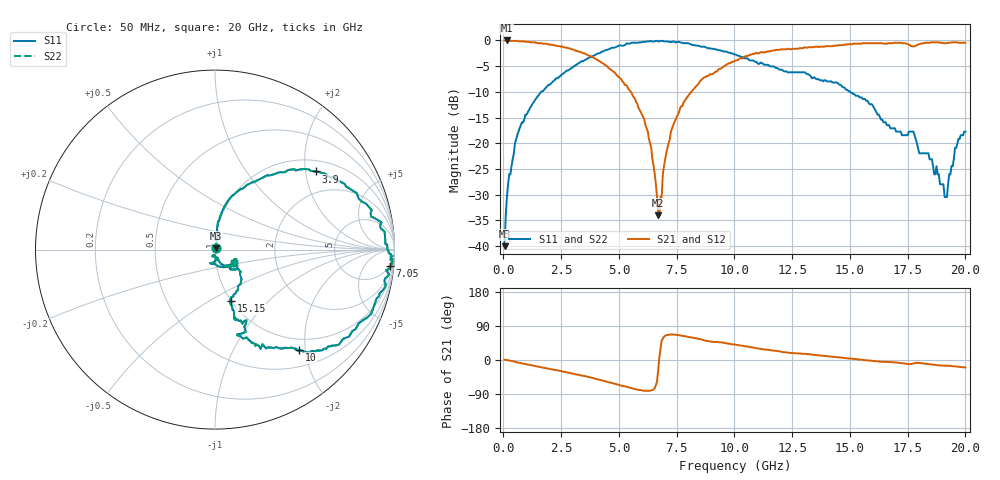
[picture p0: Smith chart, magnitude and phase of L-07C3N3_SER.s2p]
#	mhz	s	ma	r	50
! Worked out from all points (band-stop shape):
!   400 points, 50 MHz to 20 GHz, reference 50 ohm
!   highest |S21| = 0.00 dB at 150 MHz (marker M1); lowest = -34.0 dB at 6.7 GHz (marker M2)
!   |S21| within 3 dB of the highest: start of sweep to 3.76 GHz; 10.54 GHz to end of sweep
!   lowest |S11| = -40.0 dB at 50 MHz (marker M3), VSWR 1.02, Z = 50.6 + j0.827 ohm
!   |S11| at or under -10 dB: start of sweep to 1.631 GHz; 15.02 GHz to end of sweep
!   |S22| runs from -40.0 to -0.1 dB; largest |S21 - S12| = 0
!   S11 on the Smith chart (normalised r, x): 50 MHz: 1.01, +0.02; 3.9 GHz: 1.30, +2.28; 7.05 GHz: 5, -21; 10 GHz: 0.79, -1.88; 15.15 GHz: 1.00, -0.63; 20 GHz: 1.22, -0.19
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50  0.01 54.8  1 0.7  1 0.7  0.01 54.8
150  0.03 77.2  1 -0.2  1 -0.2  0.03 77.2
500  0.1 81.4  0.99 -4.8  0.99 -4.8  0.1 81.4
950  0.19 81.4  0.97 -10.7  0.97 -10.7  0.19 81.4
3400  0.63 45.2  0.76 -41.1  0.76 -41.1  0.63 45.2
3900  0.71 37.8  0.68 -48.0  0.68 -48.0  0.71 37.8
6100  0.97 -1.2  0.17 -80.9  0.17 -80.9  0.97 -1.2
6400  0.98 -2.2  0.09 -80.3  0.09 -80.3  0.98 -2.2
6700  0.98 -3.3  0.02 -25.2  0.02 -25.2  0.98 -3.3
7050  0.98 -5.3  0.08 65.5  0.08 65.5  0.98 -5.3
8000  0.94 -22.4  0.29 60.9  0.29 60.9  0.94 -22.4
10000  0.73 -50.0  0.63 40.6  0.63 40.6  0.73 -50.0
10050  0.73 -50.5  0.64 40.3  0.64 40.3  0.73 -50.5
12150  0.5 -73.8  0.82 20.8  0.82 20.8  0.5 -73.8
13350  0.43 -66.0  0.86 14.4  0.86 14.4  0.43 -66.0
15150  0.3 -72.9  0.93 2.9  0.93 2.9  0.3 -72.9
16700  0.15 -48.3  0.94 -5.4  0.94 -5.4  0.15 -48.3
17750  0.13 -43.1  0.87 -9.0  0.87 -9.0  0.13 -43.1
18750  0.06 -86.4  0.96 -13.5  0.96 -13.5  0.06 -86.4
19100  0.03 -103.0  0.94 -14.8  0.94 -14.8  0.03 -103.0
19550  0.09 -66.8  0.96 -16.7  0.96 -16.7  0.09 -66.8
20000  0.13 -35.8  0.95 -19.7  0.95 -19.7  0.13 -35.8
